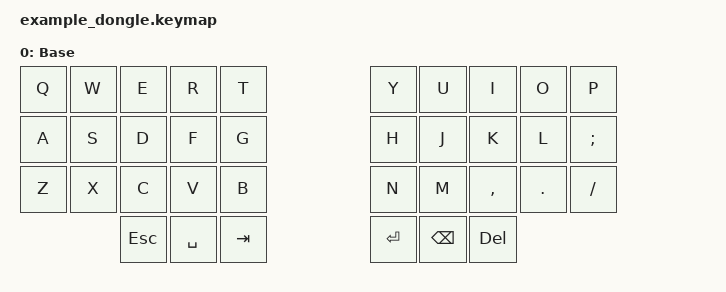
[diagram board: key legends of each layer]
/*
 * Placeholder keymap for the example dongle. It only has to compile: the
 * legends the screen draws come from keymap_legend.c, not from here.
 *
 * SPDX-License-Identifier: MIT
 */

#include <behaviors.dtsi>
#include <dt-bindings/zmk/keys.h>

/ {
    keymap {
        compatible = "zmk,keymap";

        Base {
            display-name = "Base";
            bindings = <
            &kp Q  &kp W  &kp E  &kp R  &kp T      &kp Y  &kp U      &kp I      &kp O    &kp P
            &kp A  &kp S  &kp D  &kp F  &kp G      &kp H  &kp J      &kp K      &kp L    &kp SEMI
            &kp Z  &kp X  &kp C  &kp V  &kp B      &kp N  &kp M      &kp COMMA  &kp DOT  &kp FSLH
                          &kp ESC  &kp SPACE  &kp TAB    &kp RET  &kp BSPC  &kp DEL
            >;
        };
    };
};
